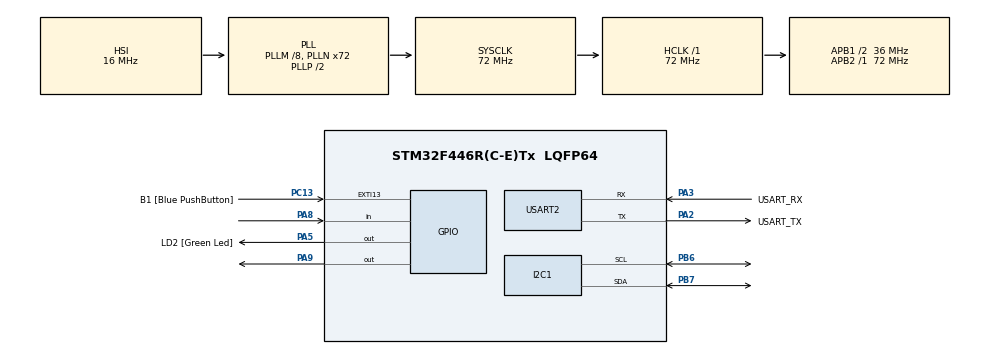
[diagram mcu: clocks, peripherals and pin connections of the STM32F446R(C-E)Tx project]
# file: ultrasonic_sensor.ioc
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I2C1.I2C_Mode=I2C_Fast
Mcu.Family=STM32F4
Mcu.Name=STM32F446R(C-E)Tx
Mcu.Package=LQFP64
NVIC.PriorityGroup=NVIC_PRIORITYGROUP_0
PA13.GPIO_Label=TMS
PA13.Mode=Serial_Wire
PA13.Signal=SYS_JTMS-SWDIO
PA14.GPIO_Label=TCK
PA14.Mode=Serial_Wire
PA14.Signal=SYS_JTCK-SWCLK
PA2.GPIO_Label=USART_TX
PA2.Mode=Asynchronous
PA2.Signal=USART2_TX
PA3.GPIO_Label=USART_RX
PA3.Mode=Asynchronous
PA3.Signal=USART2_RX
PA5.GPIO_Label=LD2 [Green Led]
PA5.Signal=GPIO_Output
PA8.Signal=GPIO_Input
PA9.Signal=GPIO_Output
PB3.GPIO_Label=SWO
PB3.Signal=SYS_JTDO-SWO
PB6.Mode=I2C
PB6.Signal=I2C1_SCL
PB7.Mode=I2C
PB7.Signal=I2C1_SDA
PC13.GPIO_Label=B1 [Blue PushButton]
PC13.GPIO_ModeDefaultEXTI=GPIO_MODE_IT_FALLING
PC13.Signal=GPXTI13
PC14-OSC32_IN.Mode=LSE-External-Oscillator
PC14-OSC32_IN.Signal=RCC_OSC32_IN
PC15-OSC32_OUT.Mode=LSE-External-Oscillator
PC15-OSC32_OUT.Signal=RCC_OSC32_OUT
PH0-OSC_IN.Mode=HSE-External-Oscillator
PH0-OSC_IN.Signal=RCC_OSC_IN
PH1-OSC_OUT.Mode=HSE-External-Oscillator
PH1-OSC_OUT.Signal=RCC_OSC_OUT
ProjectManager.HeapSize=0x200
ProjectManager.StackSize=0x400
ProjectManager.TargetToolchain=STM32CubeIDE
RCC.48MHZClocksFreq_Value=84000000
RCC.AHBFreq_Value=72000000
RCC.APB1CLKDivider=RCC_HCLK_DIV2
RCC.APB1Freq_Value=36000000
RCC.APB1TimFreq_Value=72000000
RCC.APB2Freq_Value=72000000
RCC.APB2TimFreq_Value=72000000
RCC.CortexFreq_Value=72000000
RCC.FLatency-AdvancedSettings=FLASH_LATENCY_2
RCC.HCLKFreq_Value=72000000
RCC.HSE_VALUE=8000000
RCC.HSI_VALUE=16000000
RCC.PLLM=8
RCC.PLLN=72
RCC.SYSCLKFreq_VALUE=72000000
RCC.SYSCLKSource=RCC_SYSCLKSOURCE_PLLCLK
RCC.USBFreq_Value=72000000
RCC.VCOOutputFreq_Value=144000000
TIM1.Period=65535
TIM1.Prescaler=72-1
USART2.VirtualMode=VM_ASYNC
VP_TIM1_VS_ClockSourceINT.Mode=Internal
board=NUCLEO-F446RE

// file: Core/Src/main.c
/* USER CODE BEGIN Header */
/**
  ******************************************************************************
  * @file           : main.c
  * @brief          : Main program body
  ******************************************************************************
  * @attention
  *
  * Copyright (c) 2025 STMicroelectronics.
  * All rights reserved.
  *
  * This software is licensed under terms that can be found in the LICENSE file
  * in the root directory of this software component.
  * If no LICENSE file comes with this software, it is provided AS-IS.
  *
  ******************************************************************************
  */
/* USER CODE END Header */
#include "main.h"

/* USER CODE BEGIN Includes */
#include <string.h>
#include <stdio.h>
/* USER CODE END Includes */

/* USER CODE BEGIN PTD */
#define usTIM	TIM4
/* USER CODE END PTD */

I2C_HandleTypeDef hi2c1;

TIM_HandleTypeDef htim1;

UART_HandleTypeDef huart2;

/* USER CODE BEGIN PV */
#define TRIG_PIN GPIO_PIN_9
#define TRIG_PORT GPIOA
#define ECHO_PIN GPIO_PIN_8
#define ECHO_PORT GPIOA
uint32_t pMillis;
uint32_t Value1 = 0;
uint32_t Value2 = 0;
uint16_t Distance  = 0;  // cm
/* USER CODE END PV */

void SystemClock_Config(void);
static void MX_GPIO_Init(void);
static void MX_USART2_UART_Init(void);
static void MX_TIM1_Init(void);
static void MX_I2C1_Init(void);
/* USER CODE BEGIN PFP */
void usDelay(uint32_t uSec);
/* USER CODE END PFP */

/* USER CODE BEGIN 0 */
//Speed of sound in cm/usec
//const float speedOfSound = 0.0343/2;
//float distance;

char uartBuf[100];

/* USER CODE END 0 */

int main(void)
{

  /* USER CODE BEGIN 1 */
	//uint32_t numTicks = 0;
  /* USER CODE END 1 */

  /* MCU Configuration--------------------------------------------------------*/

  /* Reset of all peripherals, Initializes the Flash interface and the Systick. */
  HAL_Init();

  /* Configure the system clock */
  SystemClock_Config();

  /* Initialize all configured peripherals */
  MX_GPIO_Init();
  MX_USART2_UART_Init();
  MX_TIM1_Init();
  MX_I2C1_Init();
  /* USER CODE BEGIN 2 */
  HAL_TIM_Base_Start(&htim1);
  HAL_GPIO_WritePin(TRIG_PORT, TRIG_PIN, GPIO_PIN_RESET);  // pull the TRIG pin low
  /* USER CODE END 2 */

  /* Infinite loop */
  while (1)
  {

    /* USER CODE BEGIN 3 */
	  HAL_GPIO_WritePin(TRIG_PORT, TRIG_PIN, GPIO_PIN_SET);  // pull the TRIG pin HIGH
	      __HAL_TIM_SET_COUNTER(&htim1, 0);
	      while (__HAL_TIM_GET_COUNTER (&htim1) < 10);  // wait for 10 us
	      HAL_GPIO_WritePin(TRIG_PORT, TRIG_PIN, GPIO_PIN_RESET);  // pull the TRIG pin low

	      pMillis = HAL_GetTick(); // used this to avoid infinite while loop  (for timeout)
	      // wait for the echo pin to go high
	      while (!(HAL_GPIO_ReadPin (ECHO_PORT, ECHO_PIN)) );//&& pMillis + 10 >  HAL_GetTick()
	      Value1 = __HAL_TIM_GET_COUNTER (&htim1);

	      pMillis = HAL_GetTick(); // used this to avoid infinite while loop (for timeout)
	      // wait for the echo pin to go low
	      while ((HAL_GPIO_ReadPin (ECHO_PORT, ECHO_PIN)) );//&& pMillis + 50 > HAL_GetTick()
	      Value2 = __HAL_TIM_GET_COUNTER (&htim1);

	      Distance = (Value2-Value1)* 0.034/2;
	      HAL_Delay(500);
	      /* USER CODE END WHILE */

	      /* USER CODE BEGIN 3 */
  }
  /* USER CODE END 3 */
}

void SystemClock_Config(void)
{
  RCC_OscInitTypeDef RCC_OscInitStruct = {0};
  RCC_ClkInitTypeDef RCC_ClkInitStruct = {0};

  /** Configure the main internal regulator output voltage
  */
  __HAL_RCC_PWR_CLK_ENABLE();
  __HAL_PWR_VOLTAGESCALING_CONFIG(PWR_REGULATOR_VOLTAGE_SCALE3);

  /** Initializes the RCC Oscillators according to the specified parameters
  * in the RCC_OscInitTypeDef structure.
  */
  RCC_OscInitStruct.OscillatorType = RCC_OSCILLATORTYPE_HSI;
  RCC_OscInitStruct.HSIState = RCC_HSI_ON;
  RCC_OscInitStruct.HSICalibrationValue = RCC_HSICALIBRATION_DEFAULT;
  RCC_OscInitStruct.PLL.PLLState = RCC_PLL_ON;
  RCC_OscInitStruct.PLL.PLLSource = RCC_PLLSOURCE_HSI;
  RCC_OscInitStruct.PLL.PLLM = 8;
  RCC_OscInitStruct.PLL.PLLN = 72;
  RCC_OscInitStruct.PLL.PLLP = RCC_PLLP_DIV2;
  RCC_OscInitStruct.PLL.PLLQ = 2;
  RCC_OscInitStruct.PLL.PLLR = 2;
  if (HAL_RCC_OscConfig(&RCC_OscInitStruct) != HAL_OK)
  {
    Error_Handler();
  }

  /** Initializes the CPU, AHB and APB buses clocks
  */
  RCC_ClkInitStruct.ClockType = RCC_CLOCKTYPE_HCLK|RCC_CLOCKTYPE_SYSCLK
                              |RCC_CLOCKTYPE_PCLK1|RCC_CLOCKTYPE_PCLK2;
  RCC_ClkInitStruct.SYSCLKSource = RCC_SYSCLKSOURCE_PLLCLK;
  RCC_ClkInitStruct.AHBCLKDivider = RCC_SYSCLK_DIV1;
  RCC_ClkInitStruct.APB1CLKDivider = RCC_HCLK_DIV2;
  RCC_ClkInitStruct.APB2CLKDivider = RCC_HCLK_DIV1;

  if (HAL_RCC_ClockConfig(&RCC_ClkInitStruct, FLASH_LATENCY_2) != HAL_OK)
  {
    Error_Handler();
  }
}

static void MX_I2C1_Init(void)
{

  hi2c1.Instance = I2C1;
  hi2c1.Init.ClockSpeed = 400000;
  hi2c1.Init.DutyCycle = I2C_DUTYCYCLE_2;
  hi2c1.Init.OwnAddress1 = 0;
  hi2c1.Init.AddressingMode = I2C_ADDRESSINGMODE_7BIT;
  hi2c1.Init.DualAddressMode = I2C_DUALADDRESS_DISABLE;
  hi2c1.Init.OwnAddress2 = 0;
  hi2c1.Init.GeneralCallMode = I2C_GENERALCALL_DISABLE;
  hi2c1.Init.NoStretchMode = I2C_NOSTRETCH_DISABLE;
  if (HAL_I2C_Init(&hi2c1) != HAL_OK)
  {
    Error_Handler();
  }

}

static void MX_TIM1_Init(void)
{

  TIM_ClockConfigTypeDef sClockSourceConfig = {0};
  TIM_MasterConfigTypeDef sMasterConfig = {0};

  htim1.Instance = TIM1;
  htim1.Init.Prescaler = 72-1;
  htim1.Init.CounterMode = TIM_COUNTERMODE_UP;
  htim1.Init.Period = 65535;
  htim1.Init.ClockDivision = TIM_CLOCKDIVISION_DIV1;
  htim1.Init.RepetitionCounter = 0;
  htim1.Init.AutoReloadPreload = TIM_AUTORELOAD_PRELOAD_DISABLE;
  if (HAL_TIM_Base_Init(&htim1) != HAL_OK)
  {
    Error_Handler();
  }
  sClockSourceConfig.ClockSource = TIM_CLOCKSOURCE_INTERNAL;
  if (HAL_TIM_ConfigClockSource(&htim1, &sClockSourceConfig) != HAL_OK)
  {
    Error_Handler();
  }
  sMasterConfig.MasterOutputTrigger = TIM_TRGO_RESET;
  sMasterConfig.MasterSlaveMode = TIM_MASTERSLAVEMODE_DISABLE;
  if (HAL_TIMEx_MasterConfigSynchronization(&htim1, &sMasterConfig) != HAL_OK)
  {
    Error_Handler();
  }

}

static void MX_USART2_UART_Init(void)
{

  huart2.Instance = USART2;
  huart2.Init.BaudRate = 115200;
  huart2.Init.WordLength = UART_WORDLENGTH_8B;
  huart2.Init.StopBits = UART_STOPBITS_1;
  huart2.Init.Parity = UART_PARITY_NONE;
  huart2.Init.Mode = UART_MODE_TX_RX;
  huart2.Init.HwFlowCtl = UART_HWCONTROL_NONE;
  huart2.Init.OverSampling = UART_OVERSAMPLING_16;
  if (HAL_UART_Init(&huart2) != HAL_OK)
  {
    Error_Handler();
  }

}

static void MX_GPIO_Init(void)
{
  GPIO_InitTypeDef GPIO_InitStruct = {0};

  /* GPIO Ports Clock Enable */
  __HAL_RCC_GPIOC_CLK_ENABLE();
  __HAL_RCC_GPIOH_CLK_ENABLE();
  __HAL_RCC_GPIOA_CLK_ENABLE();
  __HAL_RCC_GPIOB_CLK_ENABLE();

  /*Configure GPIO pin Output Level */
  HAL_GPIO_WritePin(GPIOA, LD2_Pin|GPIO_PIN_9, GPIO_PIN_RESET);

  /*Configure GPIO pin : B1_Pin */
  GPIO_InitStruct.Pin = B1_Pin;
  GPIO_InitStruct.Mode = GPIO_MODE_IT_FALLING;
  GPIO_InitStruct.Pull = GPIO_NOPULL;
  HAL_GPIO_Init(B1_GPIO_Port, &GPIO_InitStruct);

  /*Configure GPIO pins : LD2_Pin PA9 */
  GPIO_InitStruct.Pin = LD2_Pin|GPIO_PIN_9;
  GPIO_InitStruct.Mode = GPIO_MODE_OUTPUT_PP;
  GPIO_InitStruct.Pull = GPIO_NOPULL;
  GPIO_InitStruct.Speed = GPIO_SPEED_FREQ_LOW;
  HAL_GPIO_Init(GPIOA, &GPIO_InitStruct);

  /*Configure GPIO pin : PA8 */
  GPIO_InitStruct.Pin = GPIO_PIN_8;
  GPIO_InitStruct.Mode = GPIO_MODE_INPUT;
  GPIO_InitStruct.Pull = GPIO_NOPULL;
  HAL_GPIO_Init(GPIOA, &GPIO_InitStruct);

}

/* USER CODE BEGIN 4 */
void usDelay(uint32_t uSec)
{
	if(uSec < 2) uSec = 2;
	usTIM->ARR = uSec - 1; 	/*sets the value in the auto-reload register*/
	usTIM->EGR = 1; 			/*Re-initialises the timer*/
	usTIM->SR &= ~1; 		//Resets the flag
	usTIM->CR1 |= 1; 		//Enables the counter
	while((usTIM->SR&0x0001) != 1);
	usTIM->SR &= ~(0x0001);
}
/* USER CODE END 4 */

void Error_Handler(void)
{
  __disable_irq();
  while (1)
  {
  }
}
